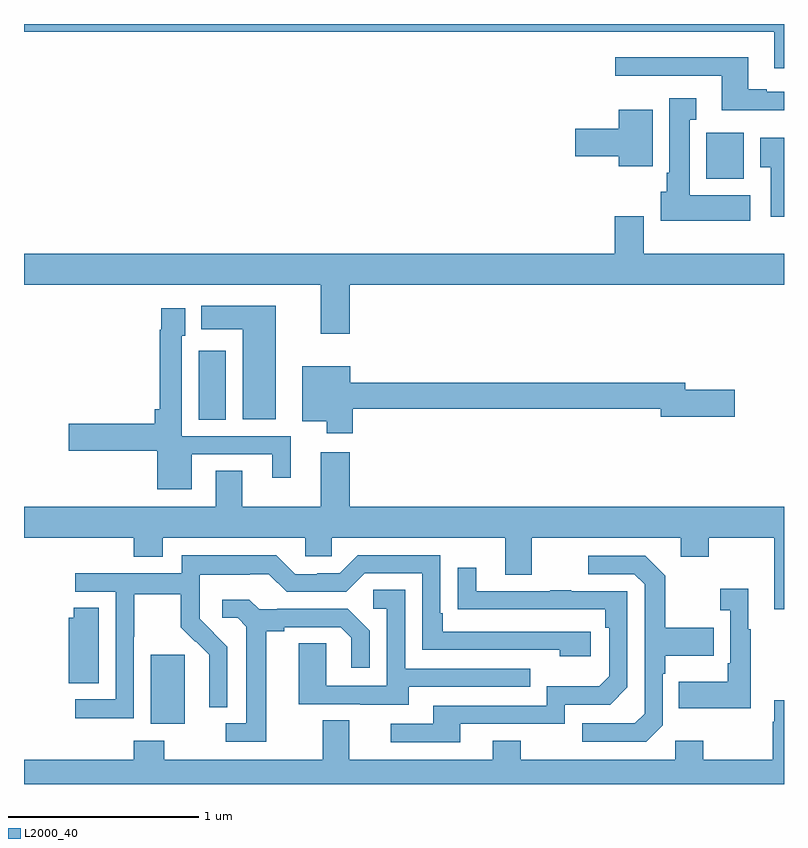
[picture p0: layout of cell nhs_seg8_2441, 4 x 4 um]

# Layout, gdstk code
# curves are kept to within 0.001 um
import gdstk
lib = gdstk.Library(unit=1e-6, precision=1e-09)
def R(c, l, rs):  # rectangles x0, y0, x1, y1
    for r in rs: c.add(gdstk.rectangle(r[:2], r[2:], *l))
def P(c, l, *ps):  # polygons
    for p in ps: c.add(gdstk.Polygon(p, *l))
L2000_40 = (2000, 40)

nhs_seg8_2441 = lib.new_cell('nhs_seg8_2441')
R(nhs_seg8_2441, L2000_40, [(265.667,1086.218,265.846,1086.579), (265.919,1087.816,266.062,1088.179), (268.592,1089.086,268.789,1089.328)])
P(nhs_seg8_2441, L2000_40, [(269,1089.9),(265,1089.9),(265,1089.86),(268.949,1089.86),(268.949,1089.666),(269,1089.666)],
  [(269,1089.543),(268.909,1089.543),(268.909,1089.556),(268.813,1089.556),(268.813,1089.724),(268.113,1089.724),(268.113,1089.627),(268.673,1089.627),(268.673,1089.446),(269,1089.446)],
  [(268.822,1088.998),(268.504,1088.998),(268.504,1089.395),(268.537,1089.395),(268.537,1089.508),(268.397,1089.508),(268.397,1089.118),(268.382,1089.118),(268.382,1089.018),(268.352,1089.018),(268.352,1088.864),(268.822,1088.864)],
  [(268.309,1089.448),(268.13,1089.448),(268.13,1089.35),(267.9,1089.35),(267.9,1089.203),(268.13,1089.203),(268.13,1089.152),(268.309,1089.152)],
  [(269,1089.301),(268.874,1089.301),(268.874,1089.145),(268.931,1089.145),(268.931,1088.886),(269,1088.886)],
  [(266.714,1088.528),(269,1088.528),(269,1088.692),(268.261,1088.692),(268.261,1088.887),(268.109,1088.887),(268.109,1088.692),(265,1088.692),(265,1088.528),(266.561,1088.528),(266.561,1088.271),(266.714,1088.271)],
  [(266.326,1088.416),(265.934,1088.416),(265.934,1088.294),(266.15,1088.294),(266.15,1087.82),(266.326,1087.82)],
  [(265.882,1087.635),(266.306,1087.635),(266.306,1087.512),(266.404,1087.512),(266.404,1087.731),(265.83,1087.731),(265.83,1088.259),(265.849,1088.259),(265.849,1088.404),(265.722,1088.404),(265.722,1088.291),(265.714,1088.291),(265.714,1087.873),(265.688,1087.873),(265.688,1087.796),(265.236,1087.796),(265.236,1087.654),(265.7,1087.654),(265.7,1087.451),(265.882,1087.451)],
  [(266.729,1087.876),(268.352,1087.876),(268.352,1087.834),(268.741,1087.834),(268.741,1087.976),(268.48,1087.976),(268.48,1088.012),(266.716,1088.012),(266.716,1088.098),(266.465,1088.098),(266.465,1087.808),(266.594,1087.808),(266.594,1087.746),(266.729,1087.746)],
  [(269,1087.36),(266.714,1087.36),(266.714,1087.645),(266.561,1087.645),(266.561,1087.36),(266.149,1087.36),(266.149,1087.55),(266.009,1087.55),(266.009,1087.36),(265,1087.36),(265,1087.196),(265.577,1087.196),(265.577,1087.097),(265.729,1087.097),(265.729,1087.196),(266.481,1087.196),(266.481,1087.098),(266.619,1087.098),(266.619,1087.196),(267.533,1087.196),(267.533,1087.002),(267.673,1087.002),(267.673,1087.196),(268.457,1087.196),(268.457,1087.097),(268.605,1087.097),(268.605,1087.196),(268.949,1087.196),(268.949,1086.819),(269,1086.819)],
  [(265.578,1086.676),(265.581,1086.676),(265.581,1086.9),(265.825,1086.9),(265.825,1086.725),(265.902,1086.648),(265.905,1086.651),(265.976,1086.581),(265.976,1086.458),(265.974,1086.458),(265.974,1086.304),(266.07,1086.304),(266.07,1086.622),(265.924,1086.77),(265.924,1086.867),(265.926,1086.867),(265.926,1087.001),(266.189,1087.001),(266.189,1087.005),(266.289,1087.005),(266.382,1086.912),(266.697,1086.912),(266.793,1087.008),(267.096,1087.008),(267.096,1086.606),(267.821,1086.606),(267.821,1086.572),(267.982,1086.572),(267.982,1086.702),(267.205,1086.702),(267.205,1086.799),(267.192,1086.799),(267.192,1087.104),(266.757,1087.104),(266.661,1087.008),(266.543,1087.008),(266.543,1087.005),(266.427,1087.005),(266.327,1087.105),(265.83,1087.105),(265.83,1087.008),(265.269,1087.008),(265.269,1086.912),(265.482,1086.912),(265.482,1086.345),(265.269,1086.345),(265.269,1086.247),(265.578,1086.247)],
  [(268.362,1086.21),(268.362,1086.479),(268.375,1086.479),(268.375,1086.575),(268.631,1086.575),(268.631,1086.723),(268.375,1086.723),(268.375,1086.995),(268.269,1087.101),(267.969,1087.101),(267.969,1087.005),(268.212,1087.005),(268.266,1086.951),(268.266,1086.27),(268.215,1086.219),(267.939,1086.219),(267.939,1086.123),(268.275,1086.123)],
  [(267.295,1086.216),(267.846,1086.216),(267.846,1086.318),(268.086,1086.318),(268.176,1086.408),(268.176,1086.915),(267.881,1086.915),(267.881,1086.92),(267.769,1086.92),(267.769,1086.915),(267.379,1086.915),(267.379,1087.039),(267.283,1087.039),(267.283,1086.82),(268.06,1086.819),(268.06,1086.722),(268.08,1086.722),(268.08,1086.468),(268.027,1086.415),(267.75,1086.415),(267.75,1086.312),(267.155,1086.312),(267.155,1086.216),(266.931,1086.216),(266.931,1086.12),(267.295,1086.12)],
  [(268.825,1086.715),(268.813,1086.715),(268.813,1086.928),(268.665,1086.928),(268.665,1086.815),(268.716,1086.815),(268.716,1086.535),(268.704,1086.535),(268.704,1086.439),(268.447,1086.439),(268.447,1086.299),(268.825,1086.299)],
  [(267.025,1086.411),(267.665,1086.411),(267.665,1086.507),(267.006,1086.507),(267.006,1086.923),(266.838,1086.923),(266.838,1086.822),(266.91,1086.822),(266.91,1086.417),(266.592,1086.417),(266.592,1086.641),(266.447,1086.641),(266.447,1086.321),(266.771,1086.321),(266.771,1086.317),(267.025,1086.317)],
  [(266.275,1086.704),(266.371,1086.704),(266.371,1086.726),(266.666,1086.726),(266.723,1086.669),(266.723,1086.513),(266.82,1086.513),(266.82,1086.706),(266.704,1086.822),(266.332,1086.822),(266.332,1086.819),(266.238,1086.819),(266.186,1086.871),(266.043,1086.871),(266.043,1086.774),(266.124,1086.774),(266.171,1086.727),(266.171,1086.219),(266.061,1086.219),(266.061,1086.123),(266.275,1086.123)],
  [(265.393,1086.827),(265.262,1086.827),(265.262,1086.774),(265.235,1086.774),(265.235,1086.43),(265.393,1086.43)],
  [(269,1086.34),(268.949,1086.34),(268.949,1086.227),(268.942,1086.227),(268.942,1086.028),(268.575,1086.028),(268.575,1086.127),(268.428,1086.127),(268.428,1086.028),(267.615,1086.028),(267.615,1086.127),(267.467,1086.127),(267.467,1086.028),(266.713,1086.028),(266.713,1086.236),(266.573,1086.236),(266.573,1086.028),(265.737,1086.028),(265.737,1086.127),(265.577,1086.127),(265.577,1086.028),(265,1086.028),(265,1085.9),(269,1085.9)])

lib.write_gds('nhs_seg8_2441.gds')
